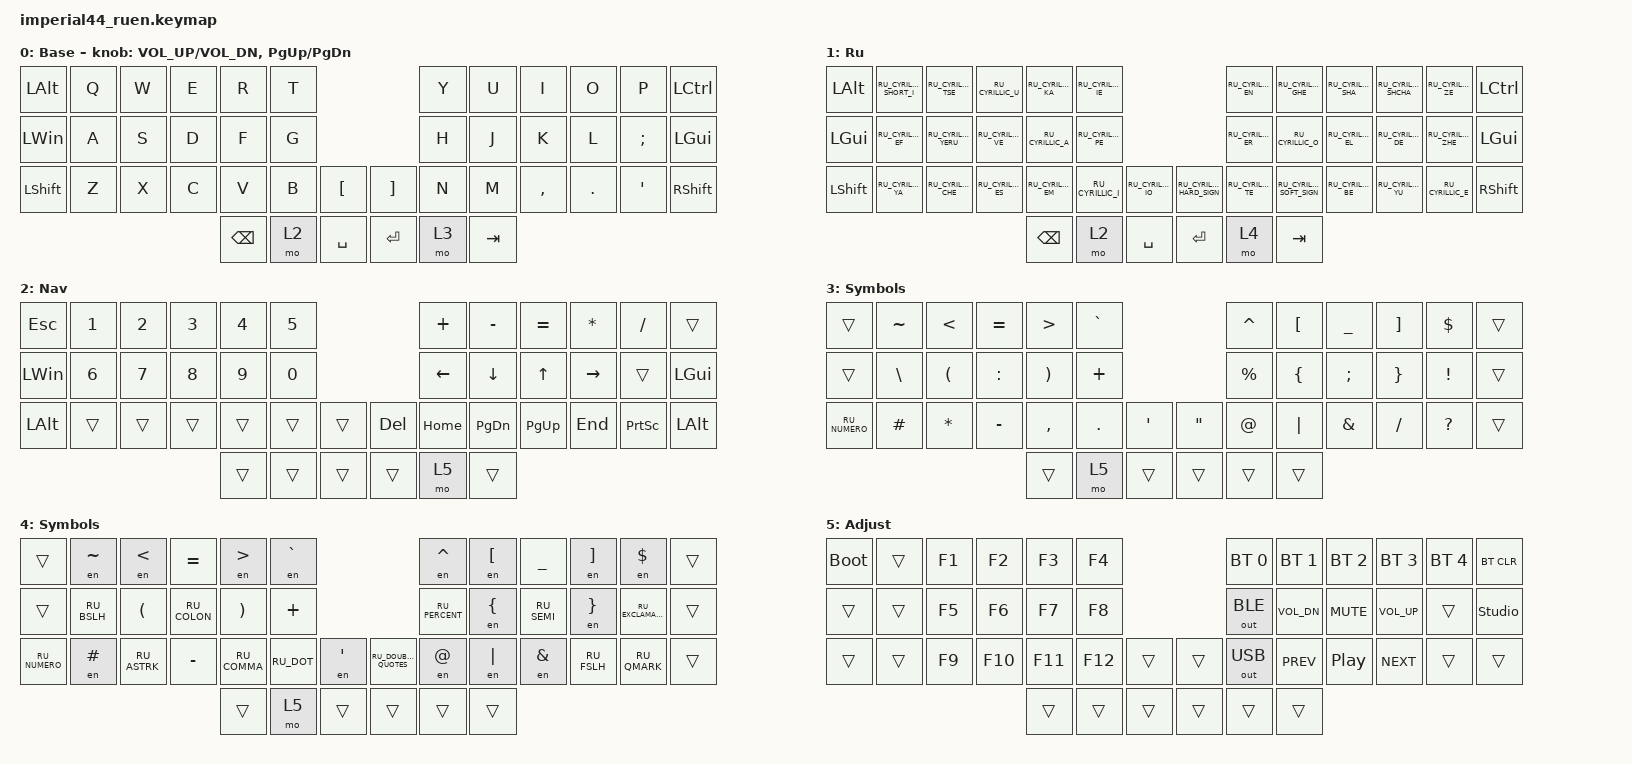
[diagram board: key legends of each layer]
#include "keys_ru.h"
#include <behaviors.dtsi>
#include <dt-bindings/zmk/bt.h>
#include <dt-bindings/zmk/keys.h>
#include <dt-bindings/zmk/outputs.h>

/ {
    combos {
        compatible = "zmk,combos";

        cmben {
            bindings = <&layer_en>;
            key-positions = <15 16>;
            layers = <1>;
        };

        cmbru {
            bindings = <&layer_ru>;
            key-positions = <15 16>;
            layers = <0>;
        };

        kha {
            bindings = <&kp RU_CYRILLIC_HA>;
            key-positions = <7 8>;
        };

        hard {
            bindings = <&kp RU_CYRILLIC_HARD_SIGN>;
            key-positions = <8 9>;
        };
    };

    macros {
        to_ru: to_ru {
            compatible = "zmk,behavior-macro";
            #binding-cells = <0>;
            bindings = <&kp LS(LC(N2))>;
            label = "TO_RU";
            wait-ms = <0>;
            tap-ms = <30>;
        };

        to_en: to_en {
            compatible = "zmk,behavior-macro";
            #binding-cells = <0>;
            bindings = <&kp LS(LC(N1))>;
            label = "TO_EN";
            wait-ms = <0>;
            tap-ms = <30>;
        };

        layer_en: layer_en {
            compatible = "zmk,behavior-macro";
            #binding-cells = <0>;
            bindings = <&to 0 &to_en>;
            label = "LAYER_EN";
            wait-ms = <0>;
            tap-ms = <30>;
        };

        layer_ru: layer_ru {
            compatible = "zmk,behavior-macro";
            #binding-cells = <0>;
            bindings = <&to 1 &to_ru>;
            label = "LAYER_RU";
            tap-ms = <30>;
            wait-ms = <0>;
        };

        en: en {
            compatible = "zmk,behavior-macro-one-param";
            #binding-cells = <1>;
            bindings =
                <&to_en>,
                <&macro_press>,
                <&macro_param_1to1 &kp MACRO_PLACEHOLDER>,
                <&macro_pause_for_release>,
                <&macro_release>,
                <&macro_param_1to1 &kp MACRO_PLACEHOLDER>,
                <&macro_tap>,
                <&to_ru>;

            label = "EN";
            wait-ms = <0>;
            tap-ms = <30>;
        };
    };

    keymap {
        compatible = "zmk,keymap";

        en {
            bindings = <
&kp LEFT_ALT  &kp Q  &kp W  &kp E  &kp R          &kp T                          &kp Y  &kp U    &kp I      &kp O    &kp P     &kp LCTRL
&kp LEFT_WIN  &kp A  &kp S  &kp D  &kp F          &kp G                          &kp H  &kp J    &kp K      &kp L    &kp SEMI  &kp LGUI
&kp LSHFT     &kp Z  &kp X  &kp C  &kp V          &kp B  &kp LBKT     &kp RBKT   &kp N  &kp M    &kp COMMA  &kp DOT  &kp SQT   &kp RSHFT
                                   &kp BACKSPACE  &mo 2  &kp SPACE    &kp ENTER  &mo 3  &kp TAB
            >;

            display-name = "Base";
            sensor-bindings =
                <&inc_dec_kp C_VOL_UP C_VOL_DN>,
                <&inc_dec_kp PG_UP PG_DN>;
        };

        ru {
            display-name = "Ru";
            bindings = <
&kp LEFT_ALT  &kp RU_CYRILLIC_SHORT_I  &kp RU_CYRILLIC_TSE   &kp RU_CYRILLIC_U   &kp RU_CYRILLIC_KA  &kp RU_CYRILLIC_IE                                                   &kp RU_CYRILLIC_EN  &kp RU_CYRILLIC_GHE        &kp RU_CYRILLIC_SHA  &kp RU_CYRILLIC_SHCHA  &kp RU_CYRILLIC_ZE   &kp LCTRL
&kp LEFT_GUI  &kp RU_CYRILLIC_EF       &kp RU_CYRILLIC_YERU  &kp RU_CYRILLIC_VE  &kp RU_CYRILLIC_A   &kp RU_CYRILLIC_PE                                                   &kp RU_CYRILLIC_ER  &kp RU_CYRILLIC_O          &kp RU_CYRILLIC_EL   &kp RU_CYRILLIC_DE     &kp RU_CYRILLIC_ZHE  &kp LGUI
&kp LSHFT     &kp RU_CYRILLIC_YA       &kp RU_CYRILLIC_CHE   &kp RU_CYRILLIC_ES  &kp RU_CYRILLIC_EM  &kp RU_CYRILLIC_I   &kp RU_CYRILLIC_IO    &kp RU_CYRILLIC_HARD_SIGN  &kp RU_CYRILLIC_TE  &kp RU_CYRILLIC_SOFT_SIGN  &kp RU_CYRILLIC_BE   &kp RU_CYRILLIC_YU     &kp RU_CYRILLIC_E    &kp RSHFT
                                                                                 &kp BACKSPACE       &mo 2               &kp SPACE             &kp ENTER                  &mo 4               &kp TAB
            >;
        };

        nav {
            bindings = <
&kp ESC       &kp N1  &kp N2  &kp N3  &kp N4  &kp N5                        &kp PLUS  &kp MINUS      &kp EQUAL    &kp STAR         &kp SLASH        &trans
&kp LEFT_WIN  &kp N6  &kp N7  &kp N8  &kp N9  &kp N0                        &kp LEFT  &kp DOWN       &kp UP       &kp RIGHT_ARROW  &trans           &kp LEFT_GUI
&kp LEFT_ALT  &trans  &trans  &trans  &trans  &trans  &trans    &kp DELETE  &kp HOME  &kp PAGE_DOWN  &kp PAGE_UP  &kp END          &kp PRINTSCREEN  &kp LEFT_ALT
                                      &trans  &trans  &trans    &trans      &mo 5     &trans
            >;

            display-name = "Nav";
        };

        sym_en {
            bindings = <
&trans         &kp TILDE  &kp LT    &kp EQUAL  &kp GT     &kp GRAVE                                         &kp CARET    &kp LBKT  &kp UNDER  &kp RBKT   &kp DOLLAR    &trans
&trans         &kp BSLH   &kp LPAR  &kp COLON  &kp RPAR   &kp PLUS                                          &kp PRCNT    &kp LBRC  &kp SEMI   &kp RBRC   &kp EXCL      &trans
&kp RU_NUMERO  &kp HASH   &kp STAR  &kp MINUS  &kp COMMA  &kp DOT    &kp SINGLE_QUOTE    &kp DOUBLE_QUOTES  &kp AT_SIGN  &kp PIPE  &kp AMPS   &kp SLASH  &kp QUESTION  &trans
                                               &trans     &mo 5      &trans              &trans             &trans       &trans
            >;

            display-name = "Symbols";
        };

        sym_ru {
            display-name = "Symbols";
            bindings = <
&trans         &en TILDE    &en LT        &kp EQUAL     &en GT        &en GRAVE                                             &en CARET       &en LBKT  &kp UNDER    &en RBKT     &en DOLLAR          &trans
&trans         &kp RU_BSLH  &kp LPAR      &kp RU_COLON  &kp RPAR      &kp PLUS                                              &kp RU_PERCENT  &en LBRC  &kp RU_SEMI  &en RBRC     &kp RU_EXCLAMATION  &trans
&kp RU_NUMERO  &en HASH     &kp RU_ASTRK  &kp MINUS     &kp RU_COMMA  &kp RU_DOT  &en SINGLE_QUOTE    &kp RU_DOUBLE_QUOTES  &en AT_SIGN     &en PIPE  &en AMPS     &kp RU_FSLH  &kp RU_QMARK        &trans
                                                        &trans        &mo 5       &trans              &trans                &trans          &trans
            >;
        };

        adj {
            bindings = <
&bootloader  &trans  &kp F1  &kp F2   &kp F3   &kp F4                     &bt BT_SEL 0  &bt BT_SEL 1  &bt BT_SEL 2      &bt BT_SEL 3  &bt BT_SEL 4  &bt BT_CLR
&trans       &trans  &kp F5  &kp F6   &kp F7   &kp F8                     &out OUT_BLE  &kp C_VOL_DN  &kp C_MUTE        &kp C_VOL_UP  &trans        &studio_unlock
&trans       &trans  &kp F9  &kp F10  &kp F11  &kp F12  &trans    &trans  &out OUT_USB  &kp C_PREV    &kp C_PLAY_PAUSE  &kp C_NEXT    &trans        &trans
                                      &trans   &trans   &trans    &trans  &trans        &trans
            >;

            display-name = "Adjust";
        };
    };
};
